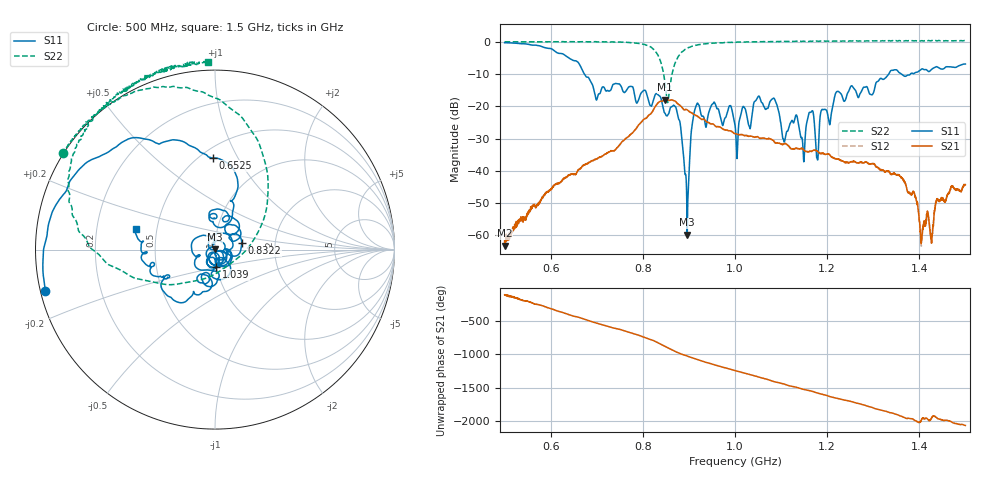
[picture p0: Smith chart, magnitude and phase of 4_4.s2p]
!Keysight Technologies,N5242B,MY48420860,A.13.80.08
!Date: Saturday, September 26, 2020 12:53:41
!Correction: S11(Full 2 Port(1,2))
!S21(Full 2 Port(1,2))
!S12(Full 2 Port(1,2))
!S22(Full 2 Port(1,2))
!S2P File: Measurements: S11, S21, S12, S22:
# Hz S  dB  R 50
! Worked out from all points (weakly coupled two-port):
!   2650 points, 500 MHz to 1.5 GHz, reference 50 ohm
!   highest |S21| = -17.88 dB at 848.4 MHz (marker M1); lowest = -63.3 dB at 500.4 MHz (marker M2)
!   lowest |S11| = -59.9 dB at 896.4 MHz (marker M3), VSWR 1.00, Z = 49.9 + j0.0675 ohm
!   |S11| at or under -10 dB: 673.3 MHz to 1.334 GHz (660.3 MHz wide, 65.8 % of centre); 1.361 GHz to 1.38 GHz (19.14 MHz wide, 1.4 % of centre)
!   |S22| runs from -18.8 to 0.5 dB; largest |S21 - S12| = 0.00056
!   S11 on the Smith chart (normalised r, x): 500 MHz: 0.01, -0.12; 652.5 MHz: 0.58, +0.80; 832.2 MHz: 1.34, +0.10; 1.039 GHz: 0.99, -0.19; 1.5 GHz: 0.38, +0.11
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5e8  -0.24 -166.2  -61.79 -114.8  -62.00 -122.4  0.04 147.7
5.003775e8  -0.24 -166.4  -63.27 -111.0  -62.79 -109.2  0.04 147.7
6.525104e8  -5.84 91.1  -41.12 -77.8  -41.10 -78.1  0.05 134.7
6.668554e8  -8.19 70.8  -39.02 -103.5  -39.00 -104.0  0.06 133.0
6.99698e8  -18.03 82.7  -36.35 -176.8  -36.23 -176.8  0.04 129.1
8.322008e8  -16.31 13.6  -19.03 -106.9  -19.05 -106.9  -3.93 67.1
8.337108e8  -16.53 9.1  -18.81 -112.6  -18.82 -112.7  -4.37 64.4
8.484334e8  -22.25 -17.7  -17.88 -165.0  -17.91 -165.1  -13.18 13.5
8.756134e8  -22.68 -109.9  -19.17 104.7  -19.20 104.6  -4.82 -170.3
8.96376e8  -59.90 138.0  -21.12 52.0  -21.14 52.0  -1.97 167.8
9.171385e8  -19.29 54.5  -22.94 2.8  -22.95 2.6  -1.00 156.0
1.000189e9  -25.93 -137.8  -28.48 -164.3  -28.50 -164.2  -0.09 136.3
1.039071e9  -20.39 -86.6  -29.45 123.9  -29.46 124.0  0.03 131.1
1.083994e9  -17.44 164.6  -30.78 32.5  -30.78 32.5  0.16 126.4
1.147414e9  -32.55 -91.5  -33.22 -82.1  -33.25 -82.0  0.24 120.5
1.166667e9  -21.50 -83.1  -33.92 -111.6  -34.03 -111.5  0.15 118.8
1.177992e9  -36.06 -82.2  -33.85 -137.4  -33.89 -137.4  0.28 118.3
1.221027e9  -15.41 -70.7  -36.37 144.1  -36.41 144.6  0.26 114.9
1.333522e9  -10.01 -118.6  -40.26 -64.4  -40.22 -64.4  0.40 105.5
1.38977e9  -9.67 -152.0  -47.17 174.6  -47.56 176.3  0.35 101.0
1.406002e9  -8.36 -159.9  -60.40 -164.0  -60.40 -154.9  0.39 100.0
1.5e9  -6.86 165.6  -44.31 98.1  -44.30 98.9  0.38 92.0
